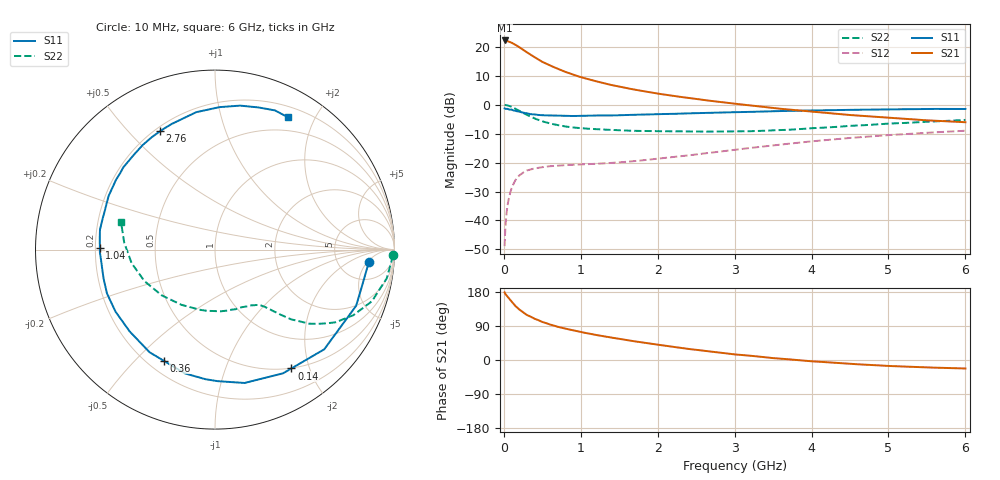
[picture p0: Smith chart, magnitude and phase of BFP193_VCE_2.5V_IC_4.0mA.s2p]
! Infineon Technologies  Discrete & RF Semiconductors
! BFP193
! VCE = 2.5 V,  IC =  4.0 mA
! Common Emitter S-Parameters:  Jan 2016
# GHz  S  MA  R  50
!  f  S11  S21  S12  S22
! GHz  MAG  ANG  MAG  ANG  MAG  ANG  MAG  ANG
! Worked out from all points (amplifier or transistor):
!   210 points, 10 MHz to 6 GHz, reference 50 ohm
!   highest |S21| = 22.2 dB at 10 MHz (marker M1)
!   |S21| within 3 dB of that: start of sweep to 237.9 MHz
!   unconditionally stable (mu >= 1): 1.333 GHz to 3.496 GHz
!   at 185 MHz: K = 0.18, MSG = 22.5 dB, |S12| = -24.9 dB
!   at 1.52 GHz: K = 1.07, MAG = 11.4 dB, |S12| = -19.9 dB
!   at 6 GHz: K = 0.93, MSG = 1.5 dB, |S12| = -9.0 dB
!   S11 on the Smith chart (normalised r, x): 10 MHz: 10, -5; 140 MHz: 0.49, -1.72; 360 MHz: 0.26, -0.61; 1.04 GHz: 0.22, +0.01; 2.76 GHz: 0.22, +0.61; 6 GHz: 0.32, +1.64
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0.01  0.8601 -4.6  12.83 178.3  0.0036 92.5  0.9907 -1.9
0.02  0.8499 -9.1  12.71 174.2  0.0074 87.6  0.9855 -3.8
0.055  0.8393 -23.7  12.39 165.4  0.0206 76.5  0.9643 -10.3
0.1  0.824 -42.4  11.79 154.4  0.0358 68.4  0.9205 -18.2
0.14  0.7871 -57.3  10.98 145.0  0.0468 60.8  0.8653 -23.9
0.2  0.7611 -77.5  9.874 133.4  0.0598 52.5  0.7857 -31.0
0.26  0.7241 -94.2  8.676 124.1  0.0683 45.6  0.7086 -35.7
0.3  0.7097 -103.7  8.007 118.7  0.073 42.5  0.6656 -38.3
0.36  0.6819 -114.8  7.132 113.2  0.0767 38.5  0.6109 -40.7
0.4  0.6783 -122.5  6.593 108.8  0.0793 36.1  0.5751 -42.5
0.5  0.6587 -136.2  5.477 100.4  0.0833 32.2  0.5144 -44.8
0.6  0.6532 -148.0  4.739 93.6  0.0865 29.8  0.4729 -46.5
0.8  0.6414 -165.5  3.676 82.7  0.0903 27.8  0.4194 -49.2
1.02  0.6415 -179.8  2.936 73.1  0.093 28.1  0.3906 -52.2
1.04  0.6418 179.0  2.887 72.3  0.0932 28.2  0.3888 -52.6
1.4  0.6501 161.3  2.178 59.0  0.0986 30.7  0.3668 -59.2
2.02  0.6865 137.6  1.538 39.9  0.1169 37.3  0.3476 -73.6
2.76  0.7269 115.0  1.133 20.6  0.1516 40.8  0.3434 -95.7
3.1  0.7447 106.6  1.004 13.1  0.1724 40.4  0.346 -107.6
4.1  0.7968 86.5  0.739 -4.6  0.2389 34.0  0.3966 -143.0
5.1  0.8305 71.8  0.583 -16.4  0.3034 22.9  0.4759 -173.7
6  0.8417 61.2  0.497 -22.4  0.3543 11.8  0.5455 163.7
